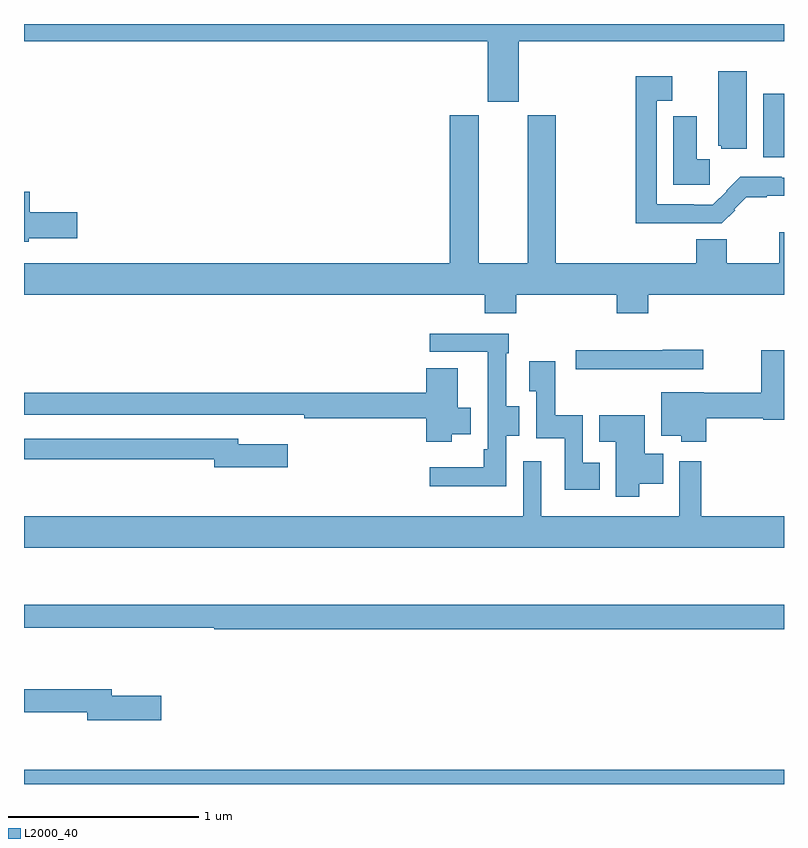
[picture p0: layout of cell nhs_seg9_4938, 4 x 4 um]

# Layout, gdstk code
import gdstk
lib = gdstk.Library(unit=1e-6, precision=1e-09)
def R(c, l, rs):  # rectangles x0, y0, x1, y1
    for r in rs: c.add(gdstk.rectangle(r[:2], r[2:], *l))
def P(c, l, *ps):  # polygons
    for p in ps: c.add(gdstk.Polygon(p, *l))
L2000_40 = (2000, 40)

nhs_seg9_4938 = lib.new_cell('nhs_seg9_4938')
R(nhs_seg9_4938, L2000_40, [(397,1204.5,401,1204.576), (400.892,1207.8,401,1208.134)])
P(nhs_seg9_4938, L2000_40, [(399.604,1208.408),(401,1208.408),(401,1208.5),(397,1208.5),(397,1208.408),(399.44,1208.408),(399.44,1208.091),(399.604,1208.091)],
  [(400.804,1208.251),(400.655,1208.251),(400.655,1207.86),(400.671,1207.86),(400.671,1207.844),(400.804,1207.844)],
  [(400.743,1207.521),(400.739,1207.525),(400.801,1207.587),(400.909,1207.587),(400.909,1207.595),(401,1207.595),(401,1207.692),(400.988,1207.692),(400.988,1207.697),(400.769,1207.697),(400.695,1207.623),(400.698,1207.62),(400.626,1207.548),(400.526,1207.548),(400.526,1207.552),(400.329,1207.552),(400.329,1208.096),(400.412,1208.096),(400.412,1208.224),(400.221,1208.224),(400.221,1207.451),(400.673,1207.451)],
  [(400.121,1206.977),(400.286,1206.977),(400.286,1207.076),(401,1207.076),(401,1207.405),(400.976,1207.405),(400.976,1207.24),(400.699,1207.24),(400.699,1207.366),(400.538,1207.366),(400.538,1207.24),(399.798,1207.24),(399.798,1208.019),(399.65,1208.019),(399.65,1207.24),(399.394,1207.24),(399.394,1208.019),(399.242,1208.019),(399.242,1207.24),(397,1207.24),(397,1207.076),(399.425,1207.076),(399.425,1206.977),(399.59,1206.977),(399.59,1207.076),(400.121,1207.076)],
  [(400.609,1207.787),(400.54,1207.787),(400.54,1208.015),(400.418,1208.015),(400.418,1207.654),(400.609,1207.654)],
  [(397.026,1207.373),(397.279,1207.373),(397.279,1207.508),(397.03,1207.508),(397.03,1207.618),(397,1207.618),(397,1207.355),(397.026,1207.355)],
  [(399.537,1206.334),(399.607,1206.334),(399.607,1206.489),(399.537,1206.489),(399.537,1206.767),(399.55,1206.767),(399.55,1206.87),(399.135,1206.87),(399.135,1206.774),(399.44,1206.774),(399.44,1206.577),(399.441,1206.577),(399.441,1206.262),(399.421,1206.262),(399.421,1206.166),(399.135,1206.166),(399.135,1206.068),(399.537,1206.068)],
  [(400.259,1206.684),(400.576,1206.684),(400.576,1206.785),(400.363,1206.785),(400.363,1206.782),(399.903,1206.782),(399.903,1206.682),(400.259,1206.682)],
  [(400.59,1206.424),(400.89,1206.424),(400.89,1206.416),(401,1206.416),(401,1206.784),(400.879,1206.784),(400.879,1206.56),(400.578,1206.56),(400.578,1206.562),(400.355,1206.562),(400.355,1206.332),(400.46,1206.332),(400.46,1206.302),(400.59,1206.302)],
  [(400.03,1206.19),(399.942,1206.19),(399.942,1206.442),(399.795,1206.442),(399.795,1206.724),(399.659,1206.724),(399.659,1206.568),(399.696,1206.568),(399.696,1206.32),(399.846,1206.32),(399.846,1206.05),(400.03,1206.05)],
  [(399.25,1206.341),(399.352,1206.341),(399.352,1206.481),(399.283,1206.481),(399.283,1206.689),(399.116,1206.689),(399.116,1206.56),(397,1206.56),(397,1206.444),(398.224,1206.444),(398.224,1206.443),(398.476,1206.443),(398.476,1206.424),(399.116,1206.424),(399.116,1206.302),(399.25,1206.302)],
  [(400.237,1206.08),(400.364,1206.08),(400.364,1206.238),(400.267,1206.238),(400.267,1206.442),(400.027,1206.442),(400.027,1206.302),(400.115,1206.302),(400.115,1206.012),(400.237,1206.012)],
  [(398.389,1206.289),(398.128,1206.289),(398.128,1206.318),(397,1206.318),(397,1206.21),(398,1206.21),(398,1206.167),(398.389,1206.167)],
  [(401,1205.908),(400.565,1205.908),(400.565,1206.199),(400.449,1206.199),(400.449,1205.908),(399.723,1205.908),(399.723,1206.199),(399.627,1206.199),(399.627,1205.908),(397,1205.908),(397,1205.744),(401,1205.744)],
  [(401,1205.443),(397,1205.443),(397,1205.322),(398,1205.322),(398,1205.314),(401,1205.314)],
  [(397.723,1204.965),(397.462,1204.965),(397.462,1204.999),(397,1204.999),(397,1204.878),(397.334,1204.878),(397.334,1204.835),(397.723,1204.835)])

lib.write_gds('nhs_seg9_4938.gds')
